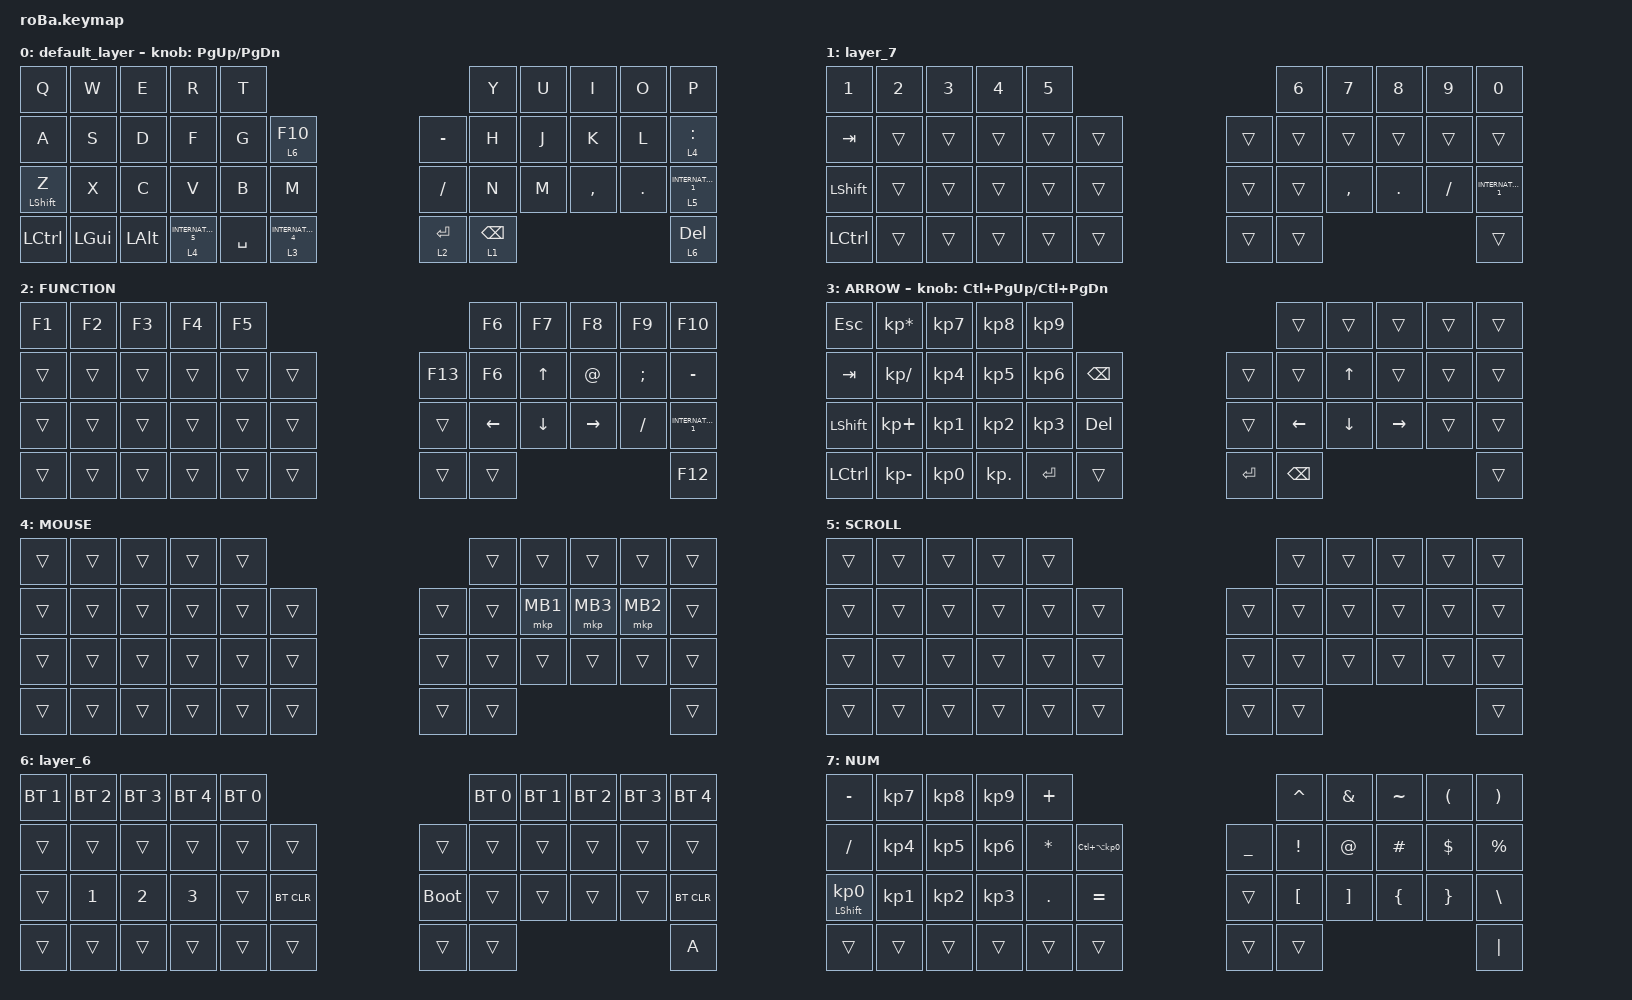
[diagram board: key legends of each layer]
#include <behaviors.dtsi>
#include <dt-bindings/zmk/bt.h>
#include <dt-bindings/zmk/keys.h>
#include <dt-bindings/zmk/pointing.h>

&mt {
    flavor = "balanced";
    quick-tap-ms = <0>;
};

&trackball {
    automouse-layer = <4>;
    scroll-layers = <5>;

    // arrows {
    //     layers = <3>;
    //     bindings =
    //         <&kp RIGHT_ARROW>,
    //         <&kp LEFT_ARROW>,
    //         <&kp UP_ARROW>,
    //         <&kp DOWN_ARROW>;
    //     tick = <10>;
    //     wait-ms = <5>;
    //     tap-ms = <5>;
    // };
};

/ {
    combos {
        compatible = "zmk,combos";

        tab {
            bindings = <&kp TAB>;
            key-positions = <11 10>;
        };

        shift_tab {
            bindings = <&kp LS(TAB)>;
            key-positions = <12 13>;
        };

        double_quotation {
            bindings = <&kp DOUBLE_QUOTES>;
            key-positions = <20 21>;
        };

        eq {
            bindings = <&kp EQUAL>;
            key-positions = <24 25>;
        };

        sr {
            bindings = <&mo 5>;
            key-positions = <21 33>;
        };

        haihon {
            bindings = <&kp MINUS>;
            key-positions = <9 8>;
        };

        bt {
            bindings = <&mo 6>;
            key-positions = <26 25>;
        };

        PS {
            bindings = <&kp PRINTSCREEN>;
            key-positions = <8 7>;
        };

        ML {
            bindings = <&mkp MB1>;
            key-positions = <18 19>;
        };

        MR {
            bindings = <&mkp MB2>;
            key-positions = <19 20>;
        };

        Mc {
            bindings = <&mkp MB3>;
            key-positions = <18 6>;
        };

        h {
            bindings = <&kp H>;
            key-positions = <14 15>;
        };

        lefty {
            bindings = <&kp Y>;
            key-positions = <3 4>;
        };
    };

    macros {
        to_layer_0: to_layer_0 {
            compatible = "zmk,behavior-macro-one-param";
            #binding-cells = <1>;
            bindings = <&to 0 &macro_param_1to1 &kp MACRO_PLACEHOLDER>;
            label = "TO_LAYER_0";
        };
    };

    behaviors {
        lt_to_layer_0: lt_to_layer_0 {
            compatible = "zmk,behavior-hold-tap";
            label = "LAYER_TAP_TO_0";
            bindings = <&mo>, <&to_layer_0>;

            #binding-cells = <2>;
            tapping-term-ms = <170>;
        };
    };

    keymap {
        compatible = "zmk,keymap";

        default_layer {
            bindings = <
&kp Q             &kp W         &kp E         &kp R                             &kp T                                                                    &kp Y                       &kp U  &kp I      &kp O    &kp P
&kp A             &kp S         &kp D         &kp F                             &kp G      &lt 6 F10                             &kp MINUS               &kp H                       &kp J  &kp K      &kp L    &lt 4 COLON
&mt LEFT_SHIFT Z  &kp X         &kp C         &kp V                             &kp B      &kp M                                 &kp SLASH               &kp N                       &kp M  &kp COMMA  &kp DOT  &lt 5 INTERNATIONAL_1
&kp LCTRL         &kp LEFT_GUI  &kp LEFT_ALT  &lt_to_layer_0 4 INTERNATIONAL_5  &kp SPACE  &lt_to_layer_0 3 INTERNATIONAL_4      &lt_to_layer_0 2 ENTER  &lt_to_layer_0 1 BACKSPACE                             &lt 6 DELETE
            >;

            sensor-bindings = <&inc_dec_kp PG_UP PAGE_DOWN>;
        };

        layer_7 {
            bindings = <
&kp NUMBER_1    &kp NUMBER_2  &kp NUMBER_3  &kp NUMBER_4  &kp N5                      &kp NUMBER_6  &kp N7     &kp N8   &kp N9     &kp N0
&kp TAB         &trans        &trans        &trans        &trans  &trans      &trans  &trans        &trans     &trans   &trans     &trans
&kp LEFT_SHIFT  &trans        &trans        &trans        &trans  &trans      &trans  &trans        &kp COMMA  &kp DOT  &kp SLASH  &kp INTERNATIONAL_1
&kp LCTRL       &trans        &trans        &trans        &trans  &trans      &trans  &trans                                       &trans
            >;
        };

        FUNCTION {
            bindings = <
&kp F1  &kp F2  &kp F3  &kp F4  &kp F5                       &kp F6          &kp F7        &kp F8           &kp F9         &kp F10
&trans  &trans  &trans  &trans  &trans  &trans      &kp F13  &kp F6          &kp UP_ARROW  &kp AT_SIGN      &kp SEMICOLON  &kp MINUS
&trans  &trans  &trans  &trans  &trans  &trans      &trans   &kp LEFT_ARROW  &kp DOWN      &kp RIGHT_ARROW  &kp SLASH      &kp INTERNATIONAL_1
&trans  &trans  &trans  &trans  &trans  &trans      &trans   &trans                                                        &kp F12
            >;
        };

        ARROW {
            bindings = <
&kp ESCAPE      &kp KP_MULTIPLY  &kp KP_NUMBER_7  &kp KP_NUMBER_8  &kp KP_NUMBER_9                                &trans          &trans        &trans     &trans  &trans
&kp TAB         &kp KP_DIVIDE    &kp KP_NUMBER_4  &kp KP_NUMBER_5  &kp KP_NUMBER_6  &kp BACKSPACE      &trans     &trans          &kp UP_ARROW  &trans     &trans  &trans
&kp LEFT_SHIFT  &kp KP_PLUS      &kp KP_N1        &kp KP_NUMBER_2  &kp KP_NUMBER_3  &kp DELETE         &trans     &kp LEFT_ARROW  &kp DOWN      &kp RIGHT  &trans  &trans
&kp LCTRL       &kp KP_MINUS     &kp KP_NUMBER_0  &kp KP_DOT       &kp ENTER        &trans             &kp ENTER  &kp BACKSPACE                                    &trans
            >;

            sensor-bindings = <&inc_dec_kp LC(PAGE_UP) LC(PAGE_DOWN)>;
        };

        MOUSE {
            bindings = <
&trans  &trans  &trans  &trans  &trans                      &trans  &trans    &trans    &trans    &trans
&trans  &trans  &trans  &trans  &trans  &trans      &trans  &trans  &mkp MB1  &mkp MB3  &mkp MB2  &trans
&trans  &trans  &trans  &trans  &trans  &trans      &trans  &trans  &trans    &trans    &trans    &trans
&trans  &trans  &trans  &trans  &trans  &trans      &trans  &trans                                &trans
            >;
        };

        SCROLL {
            bindings = <
&trans  &trans  &trans  &trans  &trans                      &trans  &trans  &trans  &trans  &trans
&trans  &trans  &trans  &trans  &trans  &trans      &trans  &trans  &trans  &trans  &trans  &trans
&trans  &trans  &trans  &trans  &trans  &trans      &trans  &trans  &trans  &trans  &trans  &trans
&trans  &trans  &trans  &trans  &trans  &trans      &trans  &trans                          &trans
            >;
        };

        layer_6 {
            bindings = <
&bt BT_SEL 1  &bt BT_SEL 2  &bt BT_SEL 3  &bt BT_SEL 4  &bt BT_SEL 0                               &bt BT_SEL 0  &bt BT_SEL 1  &bt BT_SEL 2  &bt BT_SEL 3  &bt BT_SEL 4
&trans        &trans        &trans        &trans        &trans        &trans          &trans       &trans        &trans        &trans        &trans        &trans
&trans        &kp NUMBER_1  &kp NUMBER_2  &kp NUMBER_3  &trans        &bt BT_CLR      &bootloader  &trans        &trans        &trans        &trans        &bt BT_CLR
&trans        &trans        &trans        &trans        &trans        &trans          &trans       &trans                                                  &kp A
            >;
        };

        NUM {
            bindings = <
&kp MINUS                   &kp KP_NUMBER_7  &kp KP_NUMBER_8  &kp KP_NUMBER_9  &kp PLUS                                                   &kp CARET         &kp AMPERSAND      &kp TILDE       &kp LEFT_PARENTHESIS  &kp RIGHT_PARENTHESIS
&kp SLASH                   &kp KP_NUMBER_4  &kp KP_NUMBER_5  &kp KP_NUMBER_6  &kp ASTERISK  &kp LC(LA(KP_NUMBER_0))      &kp UNDERSCORE  &kp EXCLAMATION   &kp AT_SIGN        &kp HASH        &kp DOLLAR            &kp PERCENT
&mt LEFT_SHIFT KP_NUMBER_0  &kp KP_NUMBER_1  &kp KP_NUMBER_2  &kp KP_NUMBER_3  &kp PERIOD    &kp EQUAL                    &trans          &kp LEFT_BRACKET  &kp RIGHT_BRACKET  &kp LEFT_BRACE  &kp RIGHT_BRACE       &kp BACKSLASH
&trans                      &trans           &trans           &trans           &trans        &trans                       &trans          &trans                                                                     &kp PIPE
            >;
        };
    };
};
